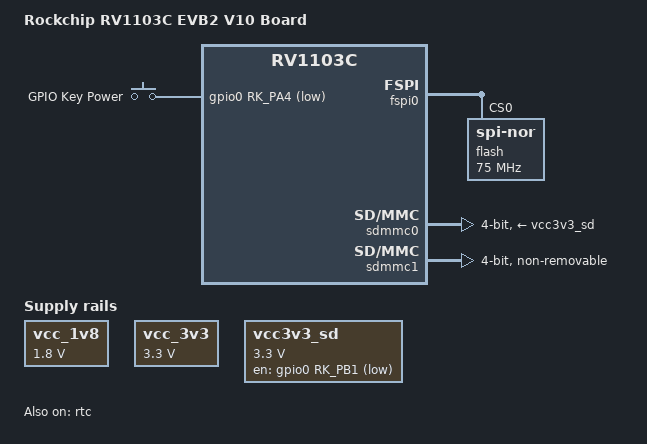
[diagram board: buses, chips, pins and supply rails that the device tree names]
// SPDX-License-Identifier: (GPL-2.0+ OR MIT)
/*
 * Copyright (c) 2024 Rockchip Electronics Co., Ltd.
 */
/dts-v1/;
#include "rv1103c.dtsi"
#include "rv1103c-evb.dtsi"
#include "rv1103c-evb2-dual-cam.dtsi"

/ {
	model = "Rockchip RV1103C EVB2 V10 Board";
	compatible = "rockchip,rv1103c-evb2-v10-normal-spi-nor-dual-cam", "rockchip,rv1103c";

	vcc_1v8: vcc-1v8 {
		compatible = "regulator-fixed";
		regulator-name = "vcc_1v8";
		regulator-always-on;
		regulator-boot-on;
		regulator-min-microvolt = <1800000>;
		regulator-max-microvolt = <1800000>;
	};

	vcc_3v3: vcc-3v3 {
		compatible = "regulator-fixed";
		regulator-name = "vcc_3v3";
		regulator-always-on;
		regulator-boot-on;
		regulator-min-microvolt = <3300000>;
		regulator-max-microvolt = <3300000>;
	};

	vcc3v3_sd: vcc3v3-sd {
		compatible = "regulator-fixed";
		gpio = <&gpio0 RK_PB1 GPIO_ACTIVE_LOW>;
		regulator-name = "vcc3v3_sd";
		regulator-min-microvolt = <3300000>;
		regulator-max-microvolt = <3300000>;
		pinctrl-names = "default";
		pinctrl-0 = <&sdmmc_pwren>;
	};

	gpio-keys {
		compatible = "gpio-keys";
		autorepeat;
		pinctrl-names = "default";
		pinctrl-0 = <&pwr_key>;
		power-key {
			gpios = <&gpio0 RK_PA4 GPIO_ACTIVE_LOW>;
			linux,code = <KEY_POWER>;
			label ="GPIO Key Power";
			debounce-interval = <100>;
			wakeup-source;
			/* gpio-key,wakeup; */
		};
	};
};

&fiq_debugger {
	rockchip,baudrate = <1500000>;
};

&fspi0 {
	status = "okay";

	flash@0 {
		compatible = "jedec,spi-nor";
		reg = <0>;
		spi-max-frequency = <75000000>;
		spi-rx-bus-width = <4>;
		spi-tx-bus-width = <1>;
	};
};

&pinctrl {
	buttons {
		pwr_key: pwr-key {
			rockchip,pins = <0 RK_PA4 RK_FUNC_GPIO &pcfg_pull_up>;
		};
	};

	sdmmc {
		/omit-if-no-ref/
		sdmmc_pwren: sdmmc-pwren {
			rockchip,pins = <0 RK_PB1 RK_FUNC_GPIO &pcfg_pull_none>;
		};
	};
};

&sdmmc0 {
	bus-width = <4>;
	cap-mmc-highspeed;
	cap-sd-highspeed;
	disable-wp;
	no-sdio;
	no-mmc;
	pinctrl-names = "default";
	pinctrl-0 = <&sdmmc0_clk_pins &sdmmc0_cmd_pins &sdmmc0_det_pins &sdmmc0_bus4_pins>;
	vmmc-supply = <&vcc3v3_sd>;
	status = "okay";
};

&sdmmc1 {
	bus-width = <4>;
	cap-sd-highspeed;
	cap-sdio-irq;
	keep-power-in-suspend;
	non-removable;
	no-sd;
	no-mmc;
	status = "okay";
};

&rockchip_suspend {
	status = "okay";

	rockchip,sleep-io-config = <
		/* pmic_sleep */
		(0
		| RKPM_IO_CFG_IOMUX_GPIO
		| RKPM_IO_CFG_GPIO_DIR_INPUT
		| RKPM_IO_CFG_PULL_DOWN
		| RKPM_IO_CFG_ID(0)
		)
		(0
		| RKPM_IO_CFG_IOMUX_GPIO
		| RKPM_IO_CFG_GPIO_DIR_INPUT
		| RKPM_IO_CFG_PULL_NONE
		| RKPM_IO_CFG_ID(1)
		)
		(0
		| RKPM_IO_CFG_IOMUX_GPIO
		| RKPM_IO_CFG_GPIO_DIR_INPUT
		| RKPM_IO_CFG_PULL_NONE
		| RKPM_IO_CFG_ID(2)
		)
		(0
		| RKPM_IO_CFG_IOMUX(1)
		| RKPM_IO_CFG_PULL_NONE
		| RKPM_IO_CFG_ID(3)
		)
		(0
		| RKPM_IO_CFG_IOMUX_GPIO
		| RKPM_IO_CFG_GPIO_DIR_INPUT
		| RKPM_IO_CFG_PULL_UP
		| RKPM_IO_CFG_ID(4)
		)
		(0
		| RKPM_IO_CFG_IOMUX_GPIO
		| RKPM_IO_CFG_GPIO_DIR_INPUT
		| RKPM_IO_CFG_PULL_DOWN
		| RKPM_IO_CFG_ID(5)
		)
		(0
		| RKPM_IO_CFG_IOMUX_GPIO
		| RKPM_IO_CFG_GPIO_DIR_INPUT
		| RKPM_IO_CFG_PULL_DOWN
		| RKPM_IO_CFG_ID(6)
		)
	>;
};

&rtc {
	rockchip,rtc-suspend-bypass;
	status = "okay";
};

&sc200ai {
	rockchip,camera-module-stb = <1>;
};

&sc200ai_1 {
	rockchip,camera-module-stb = <1>;
};
